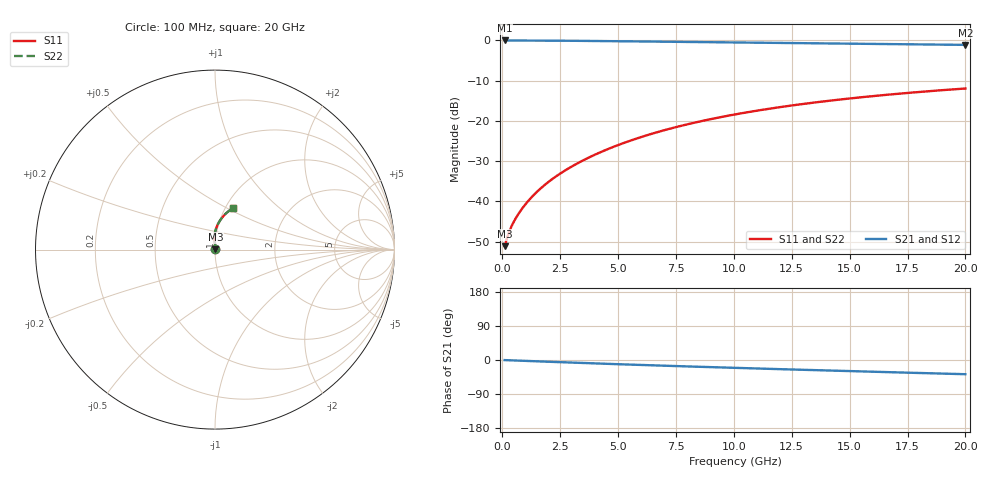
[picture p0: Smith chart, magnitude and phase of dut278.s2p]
! Touchstone file exported from HFSS 2024.1.0
!  File:  C:/UserFiles/LocalFiles/RDL_TSV_Batchsim/temp_RDL_bottom_278_1778702842.aedt
!  Generated:  04:09:40 AM May 14, 2026
!  Design:  RDL_bottom
!  Project:  temp_RDL_bottom_278_1778702842
!  Setup:  Setup1
!  Solution:  Sweep
! Variables:
!  dtsv = 10.80580581um
!  hbump = 3um
!  htsv = 85.22um
!  ldown = 588.77um
!  lrdl = 100um
!  p = 40
!  p1 = 45.7um
!  rhole = 1um
!  t = 450um
!  tdown = 3.2um
!  trdl = 3.915915916um
!  wdown = 29.05um
!  wrdl = 20um
# GHz S MA R 50.000000
! Terminal data exported
! Port[1] = RDL1_T1
! Port[2] = RDL1_T2
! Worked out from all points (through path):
!   200 points, 100 MHz to 20 GHz, reference 50 ohm
!   highest |S21| = -0.02 dB at 100 MHz (marker M1); lowest = -1.1 dB at 20 GHz (marker M2)
!   group delay of S21, straight-line fit = 5.13 ps
!   lowest |S11| = -51.1 dB at 100 MHz (marker M3), VSWR 1.01, Z = 50.3 + j0.114 ohm
!   |S11| at or under -10 dB: start of sweep to end of sweep
!   |S22| runs from -51.1 to -11.9 dB; largest |S21 - S12| = 3.6e-15
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0.1  0.002784 24.1  0.9974 -0.2  0.9974 -0.2  0.002784 24.1
! Gamma 0 0 0 0
! Port Impedance 50 0 50 0
0.2  0.00348 38.3  0.9972 -0.5  0.9972 -0.5  0.00348 38.3
0.3  0.00422 46.3  0.9969 -0.7  0.9969 -0.7  0.00422 46.3
0.4  0.004931 51.8  0.9967 -1.0  0.9967 -1.0  0.004931 51.8
0.5  0.005623 56.3  0.9965 -1.2  0.9965 -1.2  0.005623 56.3
0.8  0.007735 66.1  0.9959 -1.9  0.9959 -1.9  0.007734 66.1
1  0.009219 70.8  0.9955 -2.3  0.9955 -2.3  0.009219 70.9
1.2  0.01077 74.6  0.995 -2.8  0.995 -2.8  0.01077 74.6
1.7  0.01489 81.1  0.9936 -3.9  0.9936 -3.9  0.0149 81.1
2.2  0.01935 85.3  0.9918 -5.1  0.9918 -5.1  0.01936 85.4
2.8  0.02513 88.7  0.9891 -6.4  0.9891 -6.4  0.02514 88.8
3.5  0.03246 91.1  0.9854 -7.9  0.9854 -7.9  0.03248 91.2
4.2  0.04039 92.5  0.9813 -9.4  0.9813 -9.4  0.04042 92.5
5  0.05011 93.1  0.9761 -11.1  0.9761 -11.1  0.05016 93.1
5.9  0.06175 92.9  0.9699 -12.9  0.9699 -12.9  0.06182 93.0
6.8  0.07397 92.1  0.9635 -14.7  0.9635 -14.7  0.07405 92.2
8.4  0.09656 89.7  0.9521 -17.7  0.9521 -17.7  0.09668 89.8
10.1  0.1211 86.5  0.9402 -20.8  0.9402 -20.8  0.1212 86.6
11.7  0.1441 83.2  0.9295 -23.7  0.9295 -23.7  0.1443 83.3
13.4  0.168 79.7  0.9186 -26.6  0.9186 -26.6  0.1683 79.7
16.7  0.2122 72.8  0.8985 -32.1  0.8985 -32.1  0.2125 72.9
20  0.2527 66.4  0.8793 -37.5  0.8793 -37.5  0.253 66.4
